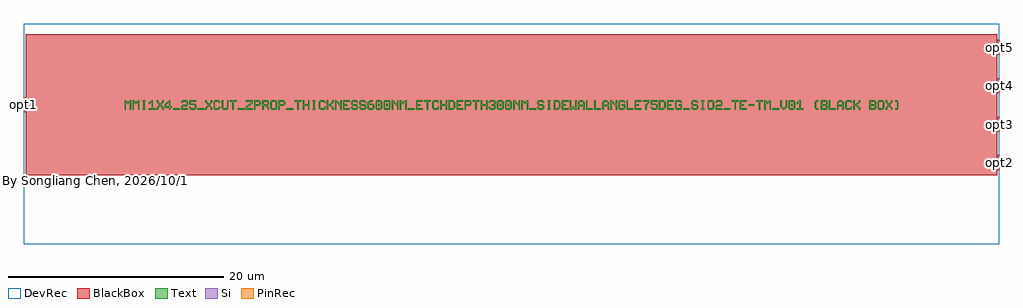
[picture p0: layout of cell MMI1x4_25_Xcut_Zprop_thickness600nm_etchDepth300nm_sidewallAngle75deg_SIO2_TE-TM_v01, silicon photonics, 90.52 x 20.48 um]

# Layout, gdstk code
import gdstk
lib = gdstk.Library(unit=1e-6, precision=1e-10)
def R(c, l, rs):  # rectangles x0, y0, x1, y1
    for r in rs: c.add(gdstk.rectangle(r[:2], r[2:], *l))
def A(c, l, x, y, w, h, nx, ny, dx, dy):  # array of equal rectangles
    R(c, l, [(x+i*dx, y+j*dy, x+i*dx+w, y+j*dy+h) for i in range(nx) for j in range(ny)])
def P(c, l, *ps):  # polygons
    for p in ps: c.add(gdstk.Polygon(p, *l))
Si = (1, 0)
PinRec = (1, 10)
Text = (10, 0)
DevRec = (68, 0)
BlackBox = (998, 0)

text = lib.new_cell('TEXT')
A(text, Text, 15.02, 0, 0.626, 0.125, 3, 1, 11.265, 0)
R(text, Text, [(4.506,0,5.132,0.125), (6.759,0,7.385,0.125), (10.514,0,11.14,0.125), (51.819,0,52.445,0.125), (55.574,0,56.2,0.125), (60.08,0,60.706,0.125), (23.531,0.313,23.656,0.563), (24.282,0.313,24.407,0.563), (34.796,0.313,34.921,0.563), (35.547,0.313,35.672,0.563), (61.832,0.313,61.957,0.563), (57.89,0.375,58.39,0.501)])
P(text, Text, [(0,0),(0,0.876),(0.125,0.876),(0.25,0.751),(0.375,0.751),(0.501,0.876),(0.626,0.876),(0.626,0),(0.501,0),(0.501,0.626),(0.438,0.626),(0.313,0.501),(0.188,0.626),(0.125,0.626),(0.125,0)],
  [(0.751,0),(0.751,0.876),(0.876,0.876),(1.001,0.751),(1.126,0.751),(1.252,0.876),(1.377,0.876),(1.377,0),(1.252,0),(1.252,0.626),(1.189,0.626),(1.064,0.501),(0.939,0.626),(0.876,0.626),(0.876,0)],
  [(1.69,0),(1.69,0.125),(1.752,0.125),(1.752,0.751),(1.69,0.751),(1.69,0.876),(1.94,0.876),(1.94,0.751),(1.877,0.751),(1.877,0.125),(1.94,0.125),(1.94,0)],
  [(2.253,0),(2.253,0.125),(2.503,0.125),(2.503,0.626),(2.441,0.626),(2.316,0.501),(2.253,0.501),(2.253,0.626),(2.503,0.876),(2.628,0.876),(2.628,0.125),(2.879,0.125),(2.879,0)],
  [(3.004,0),(3.004,0.188),(3.192,0.375),(3.192,0.501),(3.004,0.688),(3.004,0.876),(3.129,0.876),(3.129,0.751),(3.317,0.563),(3.505,0.751),(3.505,0.876),(3.63,0.876),(3.63,0.688),(3.442,0.501),(3.442,0.375),(3.63,0.188),(3.63,0),(3.505,0),(3.505,0.125),(3.317,0.313),(3.129,0.125),(3.129,0)],
  [(4.13,0),(4.13,0.188),(3.755,0.188),(3.755,0.313),(4.13,0.313),(4.13,0.626),(4.068,0.626),(3.88,0.438),(3.88,0.313),(3.755,0.313),(3.755,0.501),(4.13,0.876),(4.256,0.876),(4.256,0.313),(4.381,0.313),(4.381,0.188),(4.256,0.188),(4.256,0)],
  [(5.257,0),(5.257,0.313),(5.382,0.438),(5.695,0.438),(5.758,0.501),(5.758,0.688),(5.695,0.751),(5.445,0.751),(5.382,0.688),(5.382,0.626),(5.257,0.626),(5.257,0.751),(5.382,0.876),(5.758,0.876),(5.883,0.751),(5.883,0.438),(5.758,0.313),(5.445,0.313),(5.382,0.25),(5.382,0.125),(5.883,0.125),(5.883,0)],
  [(6.133,0),(6.008,0.125),(6.008,0.25),(6.133,0.25),(6.133,0.188),(6.196,0.125),(6.446,0.125),(6.509,0.188),(6.509,0.375),(6.446,0.438),(6.008,0.438),(6.008,0.876),(6.634,0.876),(6.634,0.751),(6.133,0.751),(6.133,0.563),(6.509,0.563),(6.634,0.438),(6.634,0.125),(6.509,0)],
  [(7.51,0),(7.51,0.188),(7.698,0.375),(7.698,0.501),(7.51,0.688),(7.51,0.876),(7.635,0.876),(7.635,0.751),(7.823,0.563),(8.011,0.751),(8.011,0.876),(8.136,0.876),(8.136,0.688),(7.948,0.501),(7.948,0.375),(8.136,0.188),(8.136,0),(8.011,0),(8.011,0.125),(7.823,0.313),(7.635,0.125),(7.635,0)],
  [(8.386,0),(8.261,0.125),(8.261,0.751),(8.386,0.876),(8.762,0.876),(8.887,0.751),(8.887,0.626),(8.762,0.626),(8.762,0.688),(8.699,0.751),(8.449,0.751),(8.386,0.688),(8.386,0.188),(8.449,0.125),(8.699,0.125),(8.762,0.188),(8.762,0.25),(8.887,0.25),(8.887,0.125),(8.762,0)],
  [(9.137,0),(9.012,0.125),(9.012,0.876),(9.137,0.876),(9.137,0.188),(9.2,0.125),(9.45,0.125),(9.513,0.188),(9.513,0.876),(9.638,0.876),(9.638,0.125),(9.513,0)],
  [(10.013,0),(10.013,0.751),(9.763,0.751),(9.763,0.876),(10.389,0.876),(10.389,0.751),(10.138,0.751),(10.138,0)],
  [(11.265,0),(11.265,0.25),(11.515,0.501),(11.578,0.501),(11.766,0.688),(11.766,0.751),(11.265,0.751),(11.265,0.876),(11.891,0.876),(11.891,0.626),(11.64,0.375),(11.578,0.375),(11.39,0.188),(11.39,0.125),(11.891,0.125),(11.891,0)],
  [(12.016,0),(12.016,0.876),(12.517,0.876),(12.642,0.751),(12.642,0.501),(12.517,0.375),(12.141,0.375),(12.141,0.501),(12.454,0.501),(12.517,0.563),(12.517,0.688),(12.454,0.751),(12.141,0.751),(12.141,0)],
  [(12.767,0),(12.767,0.876),(13.268,0.876),(13.393,0.751),(12.892,0.751),(12.892,0.501),(13.205,0.501),(13.268,0.563),(13.268,0.688),(13.205,0.751),(13.393,0.751),(13.393,0.501),(13.268,0.375),(13.268,0.313),(13.393,0.188),(13.393,0),(13.268,0),(13.268,0.125),(13.017,0.375),(12.892,0.375),(12.892,0)],
  [(13.643,0),(13.518,0.125),(13.518,0.751),(13.643,0.876),(14.019,0.876),(14.144,0.751),(14.144,0.438),(14.019,0.438),(14.019,0.688),(13.956,0.751),(13.706,0.751),(13.643,0.688),(13.643,0.188),(13.706,0.125),(13.956,0.125),(14.019,0.188),(14.019,0.438),(14.144,0.438),(14.144,0.125),(14.019,0)],
  [(14.269,0),(14.269,0.876),(14.77,0.876),(14.895,0.751),(14.895,0.501),(14.77,0.375),(14.394,0.375),(14.394,0.501),(14.707,0.501),(14.77,0.563),(14.77,0.688),(14.707,0.751),(14.394,0.751),(14.394,0)],
  [(16.021,0),(16.021,0.751),(15.771,0.751),(15.771,0.876),(16.397,0.876),(16.397,0.751),(16.146,0.751),(16.146,0)],
  [(16.522,0),(16.522,0.876),(16.647,0.876),(16.647,0.501),(17.023,0.501),(17.023,0.876),(17.148,0.876),(17.148,0),(17.023,0),(17.023,0.375),(16.647,0.375),(16.647,0)],
  [(17.461,0),(17.461,0.125),(17.523,0.125),(17.523,0.751),(17.461,0.751),(17.461,0.876),(17.711,0.876),(17.711,0.751),(17.648,0.751),(17.648,0.125),(17.711,0.125),(17.711,0)],
  [(18.149,0),(18.024,0.125),(18.024,0.751),(18.149,0.876),(18.525,0.876),(18.65,0.751),(18.65,0.626),(18.525,0.626),(18.525,0.688),(18.462,0.751),(18.212,0.751),(18.149,0.688),(18.149,0.188),(18.212,0.125),(18.462,0.125),(18.525,0.188),(18.525,0.25),(18.65,0.25),(18.65,0.125),(18.525,0)],
  [(18.775,0),(18.775,0.876),(18.9,0.876),(18.9,0.501),(19.025,0.501),(19.276,0.751),(19.276,0.876),(19.401,0.876),(19.401,0.688),(19.15,0.438),(19.401,0.188),(19.401,0),(19.276,0),(19.276,0.125),(19.025,0.375),(18.9,0.375),(18.9,0)],
  [(19.526,0),(19.526,0.876),(19.651,0.876),(19.964,0.563),(20.027,0.563),(20.027,0.876),(20.152,0.876),(20.152,0),(20.027,0),(20.027,0.313),(19.714,0.626),(19.651,0.626),(19.651,0)],
  [(20.277,0),(20.277,0.876),(20.903,0.876),(20.903,0.751),(20.402,0.751),(20.402,0.501),(20.652,0.501),(20.652,0.375),(20.402,0.375),(20.402,0.125),(20.903,0.125),(20.903,0)],
  [(21.153,0),(21.028,0.125),(21.028,0.25),(21.153,0.25),(21.153,0.188),(21.216,0.125),(21.466,0.125),(21.529,0.188),(21.529,0.313),(21.466,0.375),(21.153,0.375),(21.028,0.501),(21.028,0.751),(21.153,0.876),(21.529,0.876),(21.654,0.751),(21.654,0.626),(21.529,0.626),(21.529,0.688),(21.466,0.751),(21.216,0.751),(21.153,0.688),(21.153,0.563),(21.216,0.501),(21.529,0.501),(21.654,0.375),(21.654,0.125),(21.529,0)],
  [(21.904,0),(21.779,0.125),(21.779,0.25),(21.904,0.25),(21.904,0.188),(21.967,0.125),(22.217,0.125),(22.28,0.188),(22.28,0.313),(22.217,0.375),(21.904,0.375),(21.779,0.501),(21.779,0.751),(21.904,0.876),(22.28,0.876),(22.405,0.751),(22.405,0.626),(22.28,0.626),(22.28,0.688),(22.217,0.751),(21.967,0.751),(21.904,0.688),(21.904,0.563),(21.967,0.501),(22.28,0.501),(22.405,0.375),(22.405,0.125),(22.28,0)],
  [(22.655,0),(22.53,0.125),(22.53,0.626),(22.78,0.876),(23.031,0.876),(23.031,0.751),(22.843,0.751),(22.718,0.626),(22.718,0.563),(23.031,0.563),(23.156,0.438),(22.718,0.438),(22.655,0.375),(22.655,0.188),(22.718,0.125),(22.968,0.125),(23.031,0.188),(23.031,0.375),(22.968,0.438),(23.156,0.438),(23.156,0.125),(23.031,0)],
  [(23.406,0),(23.281,0.125),(23.281,0.751),(23.406,0.876),(23.782,0.876),(23.907,0.751),(23.469,0.751),(23.406,0.688),(23.406,0.188),(23.469,0.125),(23.719,0.125),(23.782,0.188),(23.782,0.688),(23.719,0.751),(23.907,0.751),(23.907,0.125),(23.782,0)],
  [(24.157,0),(24.032,0.125),(24.032,0.751),(24.157,0.876),(24.533,0.876),(24.658,0.751),(24.22,0.751),(24.157,0.688),(24.157,0.188),(24.22,0.125),(24.47,0.125),(24.533,0.188),(24.533,0.688),(24.47,0.751),(24.658,0.751),(24.658,0.125),(24.533,0)],
  [(24.783,0),(24.783,0.876),(24.908,0.876),(25.221,0.563),(25.284,0.563),(25.284,0.876),(25.409,0.876),(25.409,0),(25.284,0),(25.284,0.313),(24.971,0.626),(24.908,0.626),(24.908,0)],
  [(25.534,0),(25.534,0.876),(25.659,0.876),(25.784,0.751),(25.909,0.751),(26.035,0.876),(26.16,0.876),(26.16,0),(26.035,0),(26.035,0.626),(25.972,0.626),(25.847,0.501),(25.722,0.626),(25.659,0.626),(25.659,0)],
  [(27.036,0),(27.036,0.876),(27.662,0.876),(27.662,0.751),(27.161,0.751),(27.161,0.501),(27.411,0.501),(27.411,0.375),(27.161,0.375),(27.161,0.125),(27.662,0.125),(27.662,0)],
  [(28.037,0),(28.037,0.751),(27.787,0.751),(27.787,0.876),(28.413,0.876),(28.413,0.751),(28.162,0.751),(28.162,0)],
  [(28.663,0),(28.538,0.125),(28.538,0.751),(28.663,0.876),(29.039,0.876),(29.164,0.751),(29.164,0.626),(29.039,0.626),(29.039,0.688),(28.976,0.751),(28.726,0.751),(28.663,0.688),(28.663,0.188),(28.726,0.125),(28.976,0.125),(29.039,0.188),(29.039,0.25),(29.164,0.25),(29.164,0.125),(29.039,0)],
  [(29.289,0),(29.289,0.876),(29.414,0.876),(29.414,0.501),(29.79,0.501),(29.79,0.876),(29.915,0.876),(29.915,0),(29.79,0),(29.79,0.375),(29.414,0.375),(29.414,0)],
  [(30.04,0),(30.04,0.876),(30.478,0.876),(30.603,0.751),(30.165,0.751),(30.165,0.125),(30.415,0.125),(30.541,0.25),(30.541,0.626),(30.415,0.751),(30.603,0.751),(30.666,0.688),(30.666,0.188),(30.478,0)],
  [(30.791,0),(30.791,0.876),(31.417,0.876),(31.417,0.751),(30.916,0.751),(30.916,0.501),(31.166,0.501),(31.166,0.375),(30.916,0.375),(30.916,0.125),(31.417,0.125),(31.417,0)],
  [(31.542,0),(31.542,0.876),(32.043,0.876),(32.168,0.751),(32.168,0.501),(32.043,0.375),(31.667,0.375),(31.667,0.501),(31.98,0.501),(32.043,0.563),(32.043,0.688),(31.98,0.751),(31.667,0.751),(31.667,0)],
  [(32.543,0),(32.543,0.751),(32.293,0.751),(32.293,0.876),(32.919,0.876),(32.919,0.751),(32.668,0.751),(32.668,0)],
  [(33.044,0),(33.044,0.876),(33.169,0.876),(33.169,0.501),(33.545,0.501),(33.545,0.876),(33.67,0.876),(33.67,0),(33.545,0),(33.545,0.375),(33.169,0.375),(33.169,0)],
  [(33.92,0),(33.795,0.125),(33.795,0.25),(33.92,0.25),(33.92,0.188),(33.983,0.125),(34.233,0.125),(34.296,0.188),(34.296,0.313),(34.233,0.375),(34.045,0.375),(34.045,0.501),(34.233,0.501),(34.296,0.563),(34.296,0.688),(34.233,0.751),(33.983,0.751),(33.92,0.688),(33.92,0.626),(33.795,0.626),(33.795,0.751),(33.92,0.876),(34.296,0.876),(34.421,0.751),(34.421,0.501),(34.358,0.438),(34.421,0.375),(34.421,0.125),(34.296,0)],
  [(34.671,0),(34.546,0.125),(34.546,0.751),(34.671,0.876),(35.047,0.876),(35.172,0.751),(34.734,0.751),(34.671,0.688),(34.671,0.188),(34.734,0.125),(34.984,0.125),(35.047,0.188),(35.047,0.688),(34.984,0.751),(35.172,0.751),(35.172,0.125),(35.047,0)],
  [(35.422,0),(35.297,0.125),(35.297,0.751),(35.422,0.876),(35.798,0.876),(35.923,0.751),(35.485,0.751),(35.422,0.688),(35.422,0.188),(35.485,0.125),(35.735,0.125),(35.798,0.188),(35.798,0.688),(35.735,0.751),(35.923,0.751),(35.923,0.125),(35.798,0)],
  [(36.048,0),(36.048,0.876),(36.173,0.876),(36.486,0.563),(36.549,0.563),(36.549,0.876),(36.674,0.876),(36.674,0),(36.549,0),(36.549,0.313),(36.236,0.626),(36.173,0.626),(36.173,0)],
  [(36.799,0),(36.799,0.876),(36.924,0.876),(37.049,0.751),(37.174,0.751),(37.3,0.876),(37.425,0.876),(37.425,0),(37.3,0),(37.3,0.626),(37.237,0.626),(37.112,0.501),(36.987,0.626),(36.924,0.626),(36.924,0)],
  [(38.426,0),(38.301,0.125),(38.301,0.25),(38.426,0.25),(38.426,0.188),(38.489,0.125),(38.739,0.125),(38.802,0.188),(38.802,0.313),(38.739,0.375),(38.426,0.375),(38.301,0.501),(38.301,0.751),(38.426,0.876),(38.802,0.876),(38.927,0.751),(38.927,0.626),(38.802,0.626),(38.802,0.688),(38.739,0.751),(38.489,0.751),(38.426,0.688),(38.426,0.563),(38.489,0.501),(38.802,0.501),(38.927,0.375),(38.927,0.125),(38.802,0)],
  [(39.24,0),(39.24,0.125),(39.302,0.125),(39.302,0.751),(39.24,0.751),(39.24,0.876),(39.49,0.876),(39.49,0.751),(39.427,0.751),(39.427,0.125),(39.49,0.125),(39.49,0)],
  [(39.803,0),(39.803,0.876),(40.241,0.876),(40.366,0.751),(39.928,0.751),(39.928,0.125),(40.178,0.125),(40.304,0.25),(40.304,0.626),(40.178,0.751),(40.366,0.751),(40.429,0.688),(40.429,0.188),(40.241,0)],
  [(40.554,0),(40.554,0.876),(41.18,0.876),(41.18,0.751),(40.679,0.751),(40.679,0.501),(40.929,0.501),(40.929,0.375),(40.679,0.375),(40.679,0.125),(41.18,0.125),(41.18,0)],
  [(41.305,0),(41.305,0.876),(41.43,0.876),(41.43,0.188),(41.493,0.188),(41.618,0.313),(41.743,0.188),(41.806,0.188),(41.806,0.876),(41.931,0.876),(41.931,0),(41.743,0),(41.618,0.125),(41.493,0)],
  [(42.056,0),(42.056,0.688),(42.244,0.876),(42.494,0.876),(42.619,0.751),(42.306,0.751),(42.181,0.626),(42.181,0.438),(42.557,0.438),(42.557,0.626),(42.431,0.751),(42.619,0.751),(42.682,0.688),(42.682,0),(42.557,0),(42.557,0.313),(42.181,0.313),(42.181,0)],
  [(42.807,0),(42.807,0.876),(42.932,0.876),(42.932,0.125),(43.433,0.125),(43.433,0)],
  [(43.558,0),(43.558,0.876),(43.683,0.876),(43.683,0.125),(44.184,0.125),(44.184,0)],
  [(44.309,0),(44.309,0.688),(44.497,0.876),(44.747,0.876),(44.872,0.751),(44.559,0.751),(44.434,0.626),(44.434,0.438),(44.81,0.438),(44.81,0.626),(44.684,0.751),(44.872,0.751),(44.935,0.688),(44.935,0),(44.81,0),(44.81,0.313),(44.434,0.313),(44.434,0)],
  [(45.06,0),(45.06,0.876),(45.185,0.876),(45.498,0.563),(45.561,0.563),(45.561,0.876),(45.686,0.876),(45.686,0),(45.561,0),(45.561,0.313),(45.248,0.626),(45.185,0.626),(45.185,0)],
  [(45.936,0),(45.811,0.125),(45.811,0.751),(45.936,0.876),(46.312,0.876),(46.437,0.751),(46.437,0.626),(46.312,0.626),(46.312,0.688),(46.249,0.751),(45.999,0.751),(45.936,0.688),(45.936,0.188),(45.999,0.125),(46.249,0.125),(46.312,0.188),(46.312,0.375),(46.124,0.375),(46.124,0.501),(46.437,0.501),(46.437,0.125),(46.312,0)],
  [(46.562,0),(46.562,0.876),(46.687,0.876),(46.687,0.125),(47.188,0.125),(47.188,0)],
  [(47.313,0),(47.313,0.876),(47.939,0.876),(47.939,0.751),(47.438,0.751),(47.438,0.501),(47.688,0.501),(47.688,0.375),(47.438,0.375),(47.438,0.125),(47.939,0.125),(47.939,0)],
  [(48.314,0),(48.314,0.438),(48.565,0.688),(48.565,0.751),(48.064,0.751),(48.064,0.876),(48.69,0.876),(48.69,0.626),(48.439,0.375),(48.439,0)],
  [(48.94,0),(48.815,0.125),(48.815,0.25),(48.94,0.25),(48.94,0.188),(49.003,0.125),(49.253,0.125),(49.316,0.188),(49.316,0.375),(49.253,0.438),(48.815,0.438),(48.815,0.876),(49.441,0.876),(49.441,0.751),(48.94,0.751),(48.94,0.563),(49.316,0.563),(49.441,0.438),(49.441,0.125),(49.316,0)],
  [(49.566,0),(49.566,0.876),(50.004,0.876),(50.129,0.751),(49.691,0.751),(49.691,0.125),(49.941,0.125),(50.067,0.25),(50.067,0.626),(49.941,0.751),(50.129,0.751),(50.192,0.688),(50.192,0.188),(50.004,0)],
  [(50.317,0),(50.317,0.876),(50.943,0.876),(50.943,0.751),(50.442,0.751),(50.442,0.501),(50.692,0.501),(50.692,0.375),(50.442,0.375),(50.442,0.125),(50.943,0.125),(50.943,0)],
  [(51.193,0),(51.068,0.125),(51.068,0.751),(51.193,0.876),(51.569,0.876),(51.694,0.751),(51.694,0.626),(51.569,0.626),(51.569,0.688),(51.506,0.751),(51.256,0.751),(51.193,0.688),(51.193,0.188),(51.256,0.125),(51.506,0.125),(51.569,0.188),(51.569,0.375),(51.381,0.375),(51.381,0.501),(51.694,0.501),(51.694,0.125),(51.569,0)],
  [(52.695,0),(52.57,0.125),(52.57,0.25),(52.695,0.25),(52.695,0.188),(52.758,0.125),(53.008,0.125),(53.071,0.188),(53.071,0.313),(53.008,0.375),(52.695,0.375),(52.57,0.501),(52.57,0.751),(52.695,0.876),(53.071,0.876),(53.196,0.751),(53.196,0.626),(53.071,0.626),(53.071,0.688),(53.008,0.751),(52.758,0.751),(52.695,0.688),(52.695,0.563),(52.758,0.501),(53.071,0.501),(53.196,0.375),(53.196,0.125),(53.071,0)],
  [(53.509,0),(53.509,0.125),(53.571,0.125),(53.571,0.751),(53.509,0.751),(53.509,0.876),(53.759,0.876),(53.759,0.751),(53.696,0.751),(53.696,0.125),(53.759,0.125),(53.759,0)],
  [(54.197,0),(54.072,0.125),(54.072,0.751),(54.197,0.876),(54.573,0.876),(54.698,0.751),(54.698,0.438),(54.573,0.438),(54.573,0.688),(54.51,0.751),(54.26,0.751),(54.197,0.688),(54.197,0.188),(54.26,0.125),(54.51,0.125),(54.573,0.188),(54.573,0.438),(54.698,0.438),(54.698,0.125),(54.573,0)],
  [(54.823,0),(54.823,0.313),(54.948,0.438),(55.261,0.438),(55.324,0.501),(55.324,0.688),(55.261,0.751),(55.011,0.751),(54.948,0.688),(54.948,0.626),(54.823,0.626),(54.823,0.751),(54.948,0.876),(55.324,0.876),(55.449,0.751),(55.449,0.438),(55.324,0.313),(55.011,0.313),(54.948,0.25),(54.948,0.125),(55.449,0.125),(55.449,0)],
  [(56.575,0),(56.575,0.751),(56.325,0.751),(56.325,0.876),(56.951,0.876),(56.951,0.751),(56.7,0.751),(56.7,0)],
  [(57.076,0),(57.076,0.876),(57.702,0.876),(57.702,0.751),(57.201,0.751),(57.201,0.501),(57.451,0.501),(57.451,0.375),(57.201,0.375),(57.201,0.125),(57.702,0.125),(57.702,0)],
  [(58.828,0),(58.828,0.751),(58.578,0.751),(58.578,0.876),(59.204,0.876),(59.204,0.751),(58.953,0.751),(58.953,0)],
  [(59.329,0),(59.329,0.876),(59.454,0.876),(59.579,0.751),(59.704,0.751),(59.83,0.876),(59.955,0.876),(59.955,0),(59.83,0),(59.83,0.626),(59.767,0.626),(59.642,0.501),(59.517,0.626),(59.454,0.626),(59.454,0)],
  [(61.081,0),(60.831,0.25),(60.831,0.876),(60.956,0.876),(60.956,0.313),(61.144,0.125),(61.332,0.313),(61.332,0.876),(61.457,0.876),(61.457,0.25),(61.206,0)],
  [(61.707,0),(61.582,0.125),(61.582,0.751),(61.707,0.876),(62.083,0.876),(62.208,0.751),(61.77,0.751),(61.707,0.688),(61.707,0.188),(61.77,0.125),(62.02,0.125),(62.083,0.188),(62.083,0.688),(62.02,0.751),(62.208,0.751),(62.208,0.125),(62.083,0)],
  [(62.333,0),(62.333,0.125),(62.583,0.125),(62.583,0.626),(62.521,0.626),(62.396,0.501),(62.333,0.501),(62.333,0.626),(62.583,0.876),(62.708,0.876),(62.708,0.125),(62.959,0.125),(62.959,0)],
  [(64.148,0),(64.023,0.125),(64.023,0.751),(64.148,0.876),(64.336,0.876),(64.336,0.751),(64.21,0.751),(64.148,0.688),(64.148,0.188),(64.21,0.125),(64.336,0.125),(64.336,0)],
  [(64.586,0),(64.586,0.876),(65.087,0.876),(65.212,0.751),(64.711,0.751),(64.711,0.501),(65.024,0.501),(65.087,0.563),(65.087,0.688),(65.024,0.751),(65.212,0.751),(65.212,0.501),(65.149,0.438),(65.212,0.375),(64.711,0.375),(64.711,0.125),(65.024,0.125),(65.087,0.188),(65.087,0.313),(65.024,0.375),(65.212,0.375),(65.212,0.125),(65.087,0)],
  [(65.337,0),(65.337,0.876),(65.462,0.876),(65.462,0.125),(65.963,0.125),(65.963,0)],
  [(66.088,0),(66.088,0.688),(66.276,0.876),(66.526,0.876),(66.651,0.751),(66.338,0.751),(66.213,0.626),(66.213,0.438),(66.589,0.438),(66.589,0.626),(66.463,0.751),(66.651,0.751),(66.714,0.688),(66.714,0),(66.589,0),(66.589,0.313),(66.213,0.313),(66.213,0)],
  [(66.964,0),(66.839,0.125),(66.839,0.751),(66.964,0.876),(67.34,0.876),(67.465,0.751),(67.465,0.626),(67.34,0.626),(67.34,0.688),(67.277,0.751),(67.027,0.751),(66.964,0.688),(66.964,0.188),(67.027,0.125),(67.277,0.125),(67.34,0.188),(67.34,0.25),(67.465,0.25),(67.465,0.125),(67.34,0)],
  [(67.59,0),(67.59,0.876),(67.715,0.876),(67.715,0.501),(67.84,0.501),(68.091,0.751),(68.091,0.876),(68.216,0.876),(68.216,0.688),(67.965,0.438),(68.216,0.188),(68.216,0),(68.091,0),(68.091,0.125),(67.84,0.375),(67.715,0.375),(67.715,0)],
  [(69.092,0),(69.092,0.876),(69.593,0.876),(69.718,0.751),(69.217,0.751),(69.217,0.501),(69.53,0.501),(69.593,0.563),(69.593,0.688),(69.53,0.751),(69.718,0.751),(69.718,0.501),(69.655,0.438),(69.718,0.375),(69.217,0.375),(69.217,0.125),(69.53,0.125),(69.593,0.188),(69.593,0.313),(69.53,0.375),(69.718,0.375),(69.718,0.125),(69.593,0)],
  [(69.968,0),(69.843,0.125),(69.843,0.751),(69.968,0.876),(70.344,0.876),(70.469,0.751),(70.469,0.438),(70.344,0.438),(70.344,0.688),(70.281,0.751),(70.031,0.751),(69.968,0.688),(69.968,0.188),(70.031,0.125),(70.281,0.125),(70.344,0.188),(70.344,0.438),(70.469,0.438),(70.469,0.125),(70.344,0)],
  [(70.594,0),(70.594,0.188),(70.782,0.375),(70.782,0.501),(70.594,0.688),(70.594,0.876),(70.719,0.876),(70.719,0.751),(70.907,0.563),(71.095,0.751),(71.095,0.876),(71.22,0.876),(71.22,0.688),(71.032,0.501),(71.032,0.375),(71.22,0.188),(71.22,0),(71.095,0),(71.095,0.125),(70.907,0.313),(70.719,0.125),(70.719,0)],
  [(71.47,0),(71.47,0.125),(71.595,0.125),(71.658,0.188),(71.658,0.688),(71.595,0.751),(71.47,0.751),(71.47,0.876),(71.658,0.876),(71.783,0.751),(71.783,0.125),(71.658,0)])

mmi1x4_25_xcut_zprop_thi = lib.new_cell('MMI1x4_25_Xcut_Zprop_thickness600nm_etchDepth300nm_sidewallAngle75deg_SIO2_TE-TM_v01')
A(mmi1x4_25_xcut_zprop_thi, Si, 45.05, -6.0412, 0.2, 1.4, 1, 4, 0, 3.5608)
R(mmi1x4_25_xcut_zprop_thi, Si, [(-45.25,-0.7,-45.05,0.7)])
R(mmi1x4_25_xcut_zprop_thi, DevRec, [(-45.25,-12.9412,45.25,7.5412)])
R(mmi1x4_25_xcut_zprop_thi, BlackBox, [(-45.05,-6.5412,45.05,6.5412)])
mmi1x4_25_xcut_zprop_thi.add(gdstk.FlexPath([(-45.24,0),(-45.26,0)], 1.4, ends="flush", simple_path=True, layer=1, datatype=10))  # PinRec
mmi1x4_25_xcut_zprop_thi.add(gdstk.FlexPath([(45.24,-5.3412),(45.26,-5.3412)], 1.4, ends="flush", simple_path=True, layer=1, datatype=10))  # PinRec
mmi1x4_25_xcut_zprop_thi.add(gdstk.FlexPath([(45.24,-1.7804),(45.26,-1.7804)], 1.4, ends="flush", simple_path=True, layer=1, datatype=10))  # PinRec
mmi1x4_25_xcut_zprop_thi.add(gdstk.FlexPath([(45.24,1.7804),(45.26,1.7804)], 1.4, ends="flush", simple_path=True, layer=1, datatype=10))  # PinRec
mmi1x4_25_xcut_zprop_thi.add(gdstk.FlexPath([(45.24,5.3412),(45.26,5.3412)], 1.4, ends="flush", simple_path=True, layer=1, datatype=10))  # PinRec
mmi1x4_25_xcut_zprop_thi.add(gdstk.Reference(text, (-35.8915,-0.438)))
mmi1x4_25_xcut_zprop_thi.add(gdstk.Label('opt1', (-45.25,0), layer=1, texttype=10))
mmi1x4_25_xcut_zprop_thi.add(gdstk.Label('opt2', (45.25,-5.3412), layer=1, texttype=10))
mmi1x4_25_xcut_zprop_thi.add(gdstk.Label('opt3', (45.25,-1.7804), layer=1, texttype=10))
mmi1x4_25_xcut_zprop_thi.add(gdstk.Label('opt4', (45.25,1.7804), layer=1, texttype=10))
mmi1x4_25_xcut_zprop_thi.add(gdstk.Label('opt5', (45.25,5.3412), layer=1, texttype=10))
mmi1x4_25_xcut_zprop_thi.add(gdstk.Label('By Songliang Chen, 2026/10/13', (-44.75,-7.0412), layer=10, texttype=0))

lib.write_gds('MMI1x4_25_Xcut_Zprop_thickness600nm_etchDepth300nm_sidewallAngle75deg_SIO2_TE-TM_v01.gds')
